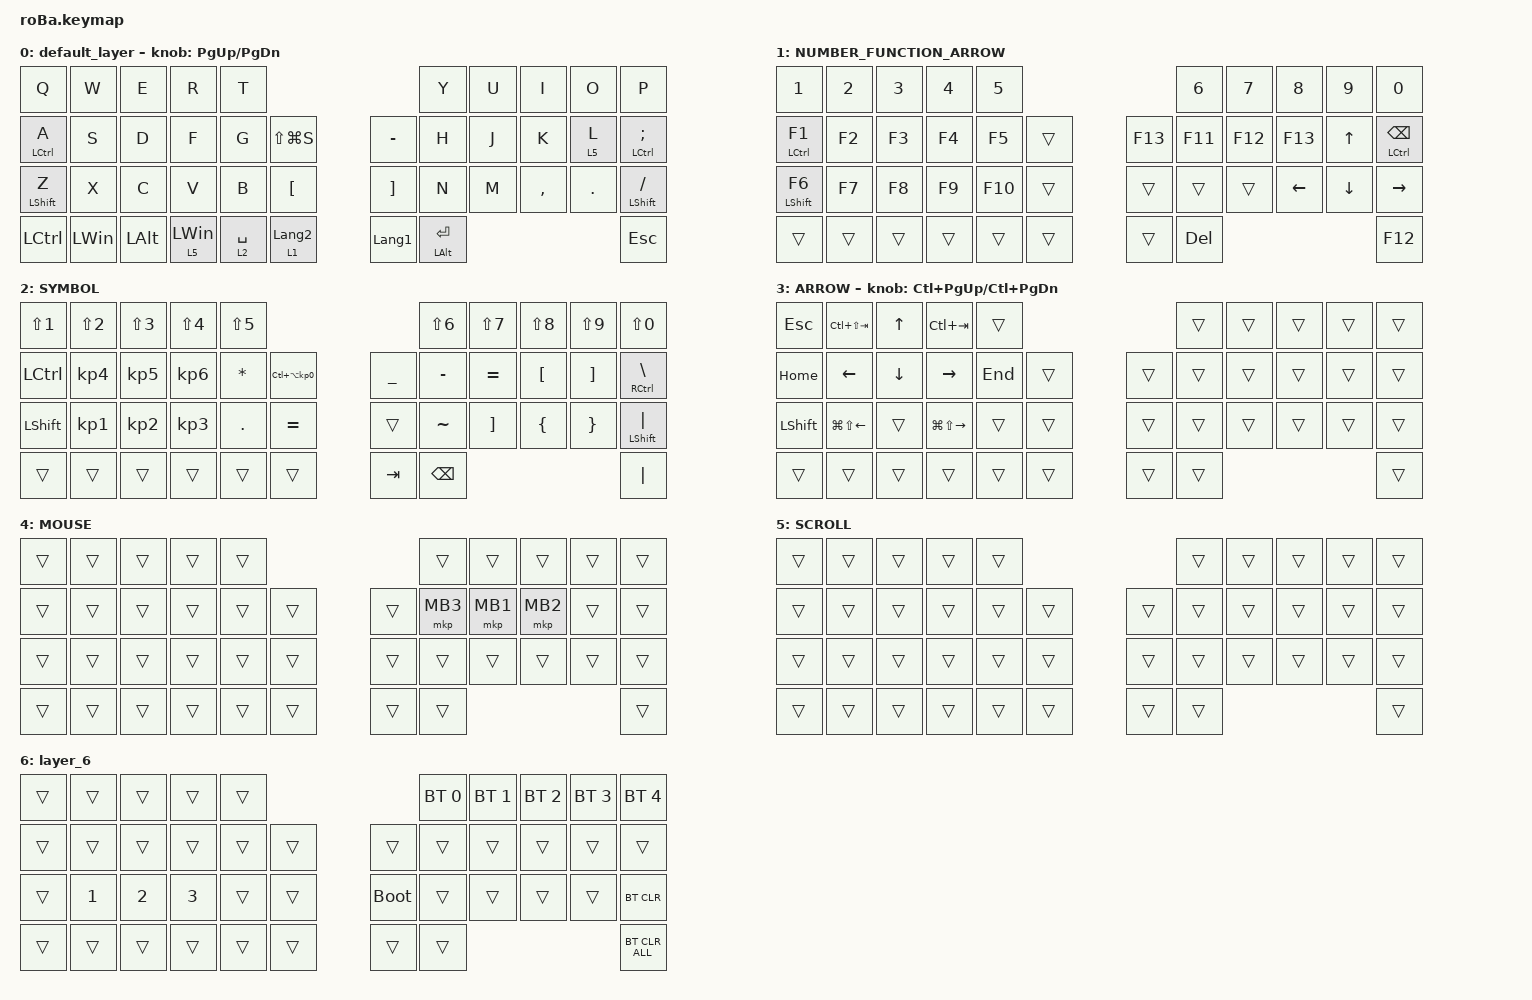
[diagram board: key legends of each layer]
#include <behaviors.dtsi>
#include <dt-bindings/zmk/bt.h>
#include <dt-bindings/zmk/keys.h>
#include <dt-bindings/zmk/pointing.h>

#define MOUSE 4
#define SCROLL 5
#define NUM 6

&mt {
    flavor = "balanced";
    quick-tap-ms = <0>;
};

/ {
    combos {
        compatible = "zmk,combos";

        shift_tab {
            bindings = <&kp TAB>;
            key-positions = <0 1>;
        };

        double_quotation {
            bindings = <&kp SQT>;
            key-positions = <20 21>;
        };

        BS {
            bindings = <&kp BSPC>;
            key-positions = <8 9>;
        };

        BackSlash {
            bindings = <&kp NON_US_BACKSLASH>;
            key-positions = <38 21 20>;
        };

        Grave {
            bindings = <&kp GRAVE>;
            key-positions = <33 32 38>;
        };
    };

    macros {
        to_layer_0: to_layer_0 {
            compatible = "zmk,behavior-macro-one-param";
            #binding-cells = <1>;
            bindings = <&to 0 &macro_param_1to1 &kp MACRO_PLACEHOLDER>;
            label = "TO_LAYER_0";
        };
    };

    behaviors {
        lt_to_layer_0: lt_to_layer_0 {
            compatible = "zmk,behavior-hold-tap";
            label = "LAYER_TAP_TO_0";
            bindings = <&mo>, <&to_layer_0>;

            #binding-cells = <2>;
            tapping-term-ms = <200>;
        };
    };

    keymap {
        compatible = "zmk,keymap";

        default_layer {
            bindings = <
&kp Q             &kp W         &kp E         &kp R                      &kp T                                                            &kp Y               &kp U  &kp I      &kp O    &kp P
&mt LCTRL A       &kp S         &kp D         &kp F                      &kp G        &kp LS(LG(S))                    &kp MINUS          &kp H               &kp J  &kp K      &lt 5 L  &mt LEFT_CONTROL SEMICOLON
&mt LEFT_SHIFT Z  &kp X         &kp C         &kp V                      &kp B        &kp LEFT_BRACKET                 &kp RIGHT_BRACKET  &kp N               &kp M  &kp COMMA  &kp DOT  &mt LSHIFT SLASH
&kp LCTRL         &kp LEFT_WIN  &kp LEFT_ALT  &lt_to_layer_0 5 LEFT_WIN  &lt 2 SPACE  &lt_to_layer_0 1 LANGUAGE_2      &kp LANGUAGE_1     &mt LEFT_ALT ENTER                             &kp ESCAPE
            >;

            sensor-bindings = <&inc_dec_kp PAGE_UP PAGE_DOWN>;
        };

        NUMBER_FUNCTION_ARROW {
            bindings = <
&kp NUMBER_1       &kp NUMBER_2  &kp NUMBER_3  &kp NUMBER_4  &kp N5                        &kp NUMBER_6  &kp N7   &kp N8          &kp N9          &kp N0
&mt LCTRL F1       &kp F2        &kp F3        &kp F4        &kp F5   &trans      &kp F13  &kp F11       &kp F12  &kp F13         &kp UP_ARROW    &mt LCTRL BSPC
&mt LEFT_SHIFT F6  &kp F7        &kp F8        &kp F9        &kp F10  &trans      &trans   &trans        &trans   &kp LEFT_ARROW  &kp DOWN_ARROW  &kp RIGHT_ARROW
&trans             &trans        &trans        &trans        &trans   &trans      &trans   &kp DELETE                                             &kp F12
            >;
        };

        SYMBOL {
            bindings = <
&kp LS(NUMBER_1)  &kp LS(NUMBER_2)  &kp LS(NUMBER_3)  &kp LS(NUMBER_4)  &kp LS(NUMBER_5)                                               &kp LS(NUMBER_6)  &kp LS(NUMBER_7)   &kp LS(NUMBER_8)  &kp LS(N9)         &kp LS(NUMBER_0)
&kp LCTRL         &kp KP_NUMBER_4   &kp KP_NUMBER_5   &kp KP_NUMBER_6   &kp ASTERISK      &kp LC(LA(KP_NUMBER_0))      &kp UNDERSCORE  &kp MINUS         &kp EQUAL          &kp LEFT_BRACKET  &kp RIGHT_BRACKET  &mt RCTRL BACKSLASH
&kp LEFT_SHIFT    &kp KP_NUMBER_1   &kp KP_NUMBER_2   &kp KP_NUMBER_3   &kp PERIOD        &kp EQUAL                    &trans          &kp TILDE         &kp RIGHT_BRACKET  &kp LEFT_BRACE    &kp RIGHT_BRACE    &mt LSHFT PIPE
&trans            &trans            &trans            &trans            &trans            &trans                       &kp TAB         &kp BACKSPACE                                                             &kp PIPE
            >;
        };

        ARROW {
            bindings = <
&kp ESCAPE      &kp LC(LS(TAB))         &kp UP_ARROW    &kp LC(TAB)              &trans                       &trans  &trans  &trans  &trans  &trans
&kp HOME        &kp LEFT_ARROW          &kp DOWN_ARROW  &kp RIGHT_ARROW          &kp END  &trans      &trans  &trans  &trans  &trans  &trans  &trans
&kp LEFT_SHIFT  &kp LG(LS(LEFT_ARROW))  &trans          &kp LG(LS(RIGHT_ARROW))  &trans   &trans      &trans  &trans  &trans  &trans  &trans  &trans
&trans          &trans                  &trans          &trans                   &trans   &trans      &trans  &trans                          &trans
            >;

            sensor-bindings = <&inc_dec_kp LC(PAGE_UP) LC(PAGE_DOWN)>;
        };

        MOUSE {
            bindings = <
&trans  &trans  &trans  &trans  &trans                      &trans    &trans    &trans    &trans  &trans
&trans  &trans  &trans  &trans  &trans  &trans      &trans  &mkp MB3  &mkp MB1  &mkp MB2  &trans  &trans
&trans  &trans  &trans  &trans  &trans  &trans      &trans  &trans    &trans    &trans    &trans  &trans
&trans  &trans  &trans  &trans  &trans  &trans      &trans  &trans                                &trans
            >;
        };

        SCROLL {
            bindings = <
&trans  &trans  &trans  &trans  &trans                      &trans  &trans  &trans  &trans  &trans
&trans  &trans  &trans  &trans  &trans  &trans      &trans  &trans  &trans  &trans  &trans  &trans
&trans  &trans  &trans  &trans  &trans  &trans      &trans  &trans  &trans  &trans  &trans  &trans
&trans  &trans  &trans  &trans  &trans  &trans      &trans  &trans                          &trans
            >;
        };

        layer_6 {
            bindings = <
&trans  &trans        &trans        &trans        &trans                           &bt BT_SEL 0  &bt BT_SEL 1  &bt BT_SEL 2  &bt BT_SEL 3  &bt BT_SEL 4
&trans  &trans        &trans        &trans        &trans  &trans      &trans       &trans        &trans        &trans        &trans        &trans
&trans  &kp NUMBER_1  &kp NUMBER_2  &kp NUMBER_3  &trans  &trans      &bootloader  &trans        &trans        &trans        &trans        &bt BT_CLR
&trans  &trans        &trans        &trans        &trans  &trans      &trans       &trans                                                  &bt BT_CLR_ALL
            >;
        };
    };
};
